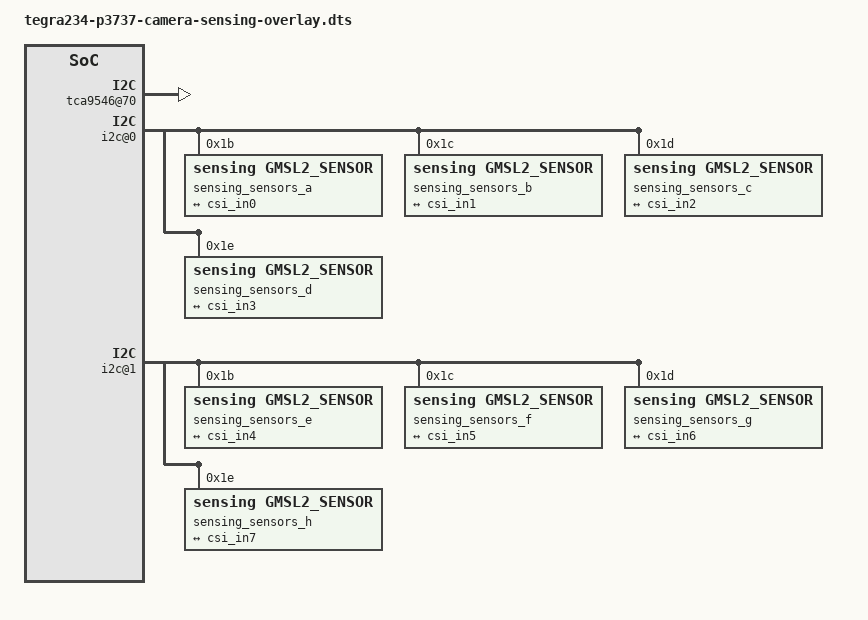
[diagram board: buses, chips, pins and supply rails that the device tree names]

/dts-v1/;
/plugin/;

/ {
	overlay-name = "Sensing Camera Module";
	jetson-header-name = "Jetson AGX CSI Connector";
	compatible = "nvidia,p3737-0000+p3701-0000", "nvidia,p3737-0000+p3701-0004", "nvidia,p3737-0000+p3701-0005";

	/* Enable VI ports */
	fragment@0 {
		target-path = "/tegra-capture-vi";
		__overlay__ {
			num-channels = <8>;
		};
	};
	fragment@1 {
		target-path = "/tegra-capture-vi/ports/port@0";
		__overlay__ {
			status = "okay";
		};
	};
	fragment@2 {
		target-path = "/tegra-capture-vi/ports/port@0/endpoint";
		__overlay__ {
			status = "okay";
			vc-id = <0>;
			port-index = <0>;
			bus-width = <4>;
		};
	};
	fragment@3 {
		target-path = "/tegra-capture-vi/ports/port@1";
		__overlay__ {
			status = "okay";
		};
	};
	fragment@4 {
		target-path = "/tegra-capture-vi/ports/port@1/endpoint";
		__overlay__ {
			status = "okay";
			vc-id = <1>;
			port-index = <0>;
			bus-width = <4>;
		};
	};
	fragment@5 {
		target-path = "/tegra-capture-vi/ports/port@2";
		__overlay__ {
			status = "okay";
		};
	};
	fragment@6 {
		target-path = "/tegra-capture-vi/ports/port@2/endpoint";
		__overlay__ {
			status = "okay";
			vc-id = <2>;
			port-index = <0>;
			bus-width = <4>;
		};
	};
	fragment@7 {
		target-path = "/tegra-capture-vi/ports/port@3";
		__overlay__ {
			status = "okay";
		};
	};
	fragment@8 {
		target-path = "/tegra-capture-vi/ports/port@3/endpoint";
		__overlay__ {
			status = "okay";
			vc-id = <3>;
			port-index = <0>;
			bus-width = <4>;
		};
	};
	fragment@9 {
		target-path = "/tegra-capture-vi/ports/port@4";
		__overlay__ {
			status = "okay";
		};
	};
	fragment@10 {
		target-path = "/tegra-capture-vi/ports/port@4/endpoint";
		__overlay__ {
			status = "okay";
			vc-id = <0>;
			port-index = <2>;
			bus-width = <4>;
		};
	};
	fragment@11 {
		target-path = "/tegra-capture-vi/ports/port@5";
		__overlay__ {
			status = "okay";
		};
	};
	fragment@12 {
		target-path = "/tegra-capture-vi/ports/port@5/endpoint";
		__overlay__ {
			status = "okay";
			vc-id = <1>;
			port-index = <2>;
			bus-width = <4>;
		};
	};
	fragment@13 {
		target-path = "/tegra-capture-vi/ports/port@6";
		__overlay__ {
			status = "okay";
		};
	};
	fragment@14 {
		target-path = "/tegra-capture-vi/ports/port@6/endpoint";
		__overlay__ {
			status = "okay";
			vc-id = <2>;
			port-index = <2>;
			bus-width = <4>;
		};
	};
	fragment@15 {
		target-path = "/tegra-capture-vi/ports/port@7";
		__overlay__ {
			status = "okay";
		};
	};
	fragment@16 {
		target-path = "/tegra-capture-vi/ports/port@7/endpoint";
		__overlay__ {
			status = "okay";
			vc-id = <3>;
			port-index = <2>;
			bus-width = <4>;
		};
	};

	/* Enable CSI ports */
	fragment@17 {
		target-path = "/host1x@13e00000/nvcsi@15a00000";
		__overlay__ {
			num-channels = <8>;
		};
	};
	fragment@18 {
		target-path = "/host1x@13e00000/nvcsi@15a00000/channel@0";
		__overlay__ {
			status = "okay";
		};
	};
	fragment@19 {
		target-path = "/host1x@13e00000/nvcsi@15a00000/channel@0/ports/port@0";
		__overlay__ {
			status = "okay";
		};
	};
	fragment@20 {
		target-path = "/host1x@13e00000/nvcsi@15a00000/channel@0/ports/port@0/endpoint@0";
		__overlay__ {
			status = "okay";
			port-index = <0>;
			bus-width = <4>;
			remote-endpoint = <&sensing_sensors_out0>;
		};
	};
	fragment@21 {
		target-path = "/host1x@13e00000/nvcsi@15a00000/channel@0/ports/port@1";
		__overlay__ {
			status = "okay";
		};
	};
	fragment@22 {
		target-path = "/host1x@13e00000/nvcsi@15a00000/channel@0/ports/port@1/endpoint@1";
		__overlay__ {
			status = "okay";
			remote-endpoint = <&vi_in0>;
		};
	};
	fragment@23 {
		target-path = "/host1x@13e00000/nvcsi@15a00000/channel@1";
		__overlay__ {
			status = "okay";
		};
	};
	fragment@24 {
		target-path = "/host1x@13e00000/nvcsi@15a00000/channel@1/ports/port@0";
		__overlay__ {
			status = "okay";
		};
	};
	fragment@25 {
		target-path = "/host1x@13e00000/nvcsi@15a00000/channel@1/ports/port@0/endpoint@2";
		__overlay__ {
			status = "okay";
			port-index = <0>;
			bus-width = <4>;
			remote-endpoint = <&sensing_sensors_out1>;
		};
	};
	fragment@26 {
		target-path = "/host1x@13e00000/nvcsi@15a00000/channel@1/ports/port@1";
		__overlay__ {
			status = "okay";
		};
	};
	fragment@27 {
		target-path = "/host1x@13e00000/nvcsi@15a00000/channel@1/ports/port@1/endpoint@3";
		__overlay__ {
			status = "okay";
			remote-endpoint = <&vi_in1>;
		};
	};
	fragment@28 {
		target-path = "/host1x@13e00000/nvcsi@15a00000/channel@2";
		__overlay__ {
			status = "okay";
		};
	};
	fragment@29 {
		target-path = "/host1x@13e00000/nvcsi@15a00000/channel@2/ports/port@0";
		__overlay__ {
			status = "okay";
		};
	};
	fragment@30 {
		target-path = "/host1x@13e00000/nvcsi@15a00000/channel@2/ports/port@0/endpoint@4";
		__overlay__ {
			status = "okay";
			port-index = <0>;
			bus-width = <4>;
			remote-endpoint = <&sensing_sensors_out2>;
		};
	};
	fragment@31 {
		target-path = "/host1x@13e00000/nvcsi@15a00000/channel@2/ports/port@1";
		__overlay__ {
			status = "okay";
		};
	};
	fragment@32 {
		target-path = "/host1x@13e00000/nvcsi@15a00000/channel@2/ports/port@1/endpoint@5";
		__overlay__ {
			status = "okay";
			remote-endpoint = <&vi_in2>;
		};
	};
	fragment@33 {
		target-path = "/host1x@13e00000/nvcsi@15a00000/channel@3";
		__overlay__ {
			status = "okay";
		};
	};
	fragment@34 {
		target-path = "/host1x@13e00000/nvcsi@15a00000/channel@3/ports/port@0";
		__overlay__ {
			status = "okay";
		};
	};
	fragment@35 {
		target-path = "/host1x@13e00000/nvcsi@15a00000/channel@3/ports/port@0/endpoint@6";
		__overlay__ {
			status = "okay";
			port-index = <0>;
			bus-width = <4>;
			remote-endpoint = <&sensing_sensors_out3>;
		};
	};
	fragment@36 {
		target-path = "/host1x@13e00000/nvcsi@15a00000/channel@3/ports/port@1";
		__overlay__ {
			status = "okay";
		};
	};
	fragment@37 {
		target-path = "/host1x@13e00000/nvcsi@15a00000/channel@3/ports/port@1/endpoint@7";
		__overlay__ {
			status = "okay";
			remote-endpoint = <&vi_in3>;
		};
	};
	fragment@38 {
		target-path = "/host1x@13e00000/nvcsi@15a00000/channel@4";
		__overlay__ {
			status = "okay";
		};
	};
	fragment@39 {
		target-path = "/host1x@13e00000/nvcsi@15a00000/channel@4/ports/port@0";
		__overlay__ {
			status = "okay";
		};
	};
	fragment@40 {
		target-path = "/host1x@13e00000/nvcsi@15a00000/channel@4/ports/port@0/endpoint@8";
		__overlay__ {
			status = "okay";
			port-index = <2>;
			bus-width = <4>;
			remote-endpoint = <&sensing_sensors_out4>;
		};
	};
	fragment@41 {
		target-path = "/host1x@13e00000/nvcsi@15a00000/channel@4/ports/port@1";
		__overlay__ {
			status = "okay";
		};
	};
	fragment@42 {
		target-path = "/host1x@13e00000/nvcsi@15a00000/channel@4/ports/port@1/endpoint@9";
		__overlay__ {
			status = "okay";
			remote-endpoint = <&vi_in4>;
		};
	};
	fragment@43 {
		target-path = "/host1x@13e00000/nvcsi@15a00000/channel@5";
		__overlay__ {
			status = "okay";
		};
	};
	fragment@44 {
		target-path = "/host1x@13e00000/nvcsi@15a00000/channel@5/ports/port@0";
		__overlay__ {
			status = "okay";
		};
	};
	fragment@45 {
		target-path = "/host1x@13e00000/nvcsi@15a00000/channel@5/ports/port@0/endpoint@10";
		__overlay__ {
			status = "okay";
			port-index = <2>;
			bus-width = <4>;
			remote-endpoint = <&sensing_sensors_out5>;
		};
	};
	fragment@46 {
		target-path = "/host1x@13e00000/nvcsi@15a00000/channel@5/ports/port@1";
		__overlay__ {
			status = "okay";
		};
	};
	fragment@47 {
		target-path = "/host1x@13e00000/nvcsi@15a00000/channel@5/ports/port@1/endpoint@11";
		__overlay__ {
			status = "okay";
			remote-endpoint = <&vi_in5>;
		};
	};
	fragment@48 {
		target-path = "/host1x@13e00000/nvcsi@15a00000/channel@6";
		__overlay__ {
			status = "okay";
		};
	};
	fragment@49 {
		target-path = "/host1x@13e00000/nvcsi@15a00000/channel@6/ports/port@0";
		__overlay__ {
			status = "okay";
		};
	};
	fragment@50 {
		target-path = "/host1x@13e00000/nvcsi@15a00000/channel@6/ports/port@0/endpoint@12";
		__overlay__ {
			status = "okay";
			port-index = <2>;
			bus-width = <4>;
			remote-endpoint = <&sensing_sensors_out6>;
		};
	};
	fragment@51 {
		target-path = "/host1x@13e00000/nvcsi@15a00000/channel@6/ports/port@1";
		__overlay__ {
			status = "okay";
		};
	};
	fragment@52 {
		target-path = "/host1x@13e00000/nvcsi@15a00000/channel@6/ports/port@1/endpoint@13";
		__overlay__ {
			status = "okay";
			remote-endpoint = <&vi_in6>;
		};
	};
	fragment@53 {
		target-path = "/host1x@13e00000/nvcsi@15a00000/channel@7";
		__overlay__ {
			status = "okay";
		};
	};
	fragment@54 {
		target-path = "/host1x@13e00000/nvcsi@15a00000/channel@7/ports/port@0";
		__overlay__ {
			status = "okay";
		};
	};
	fragment@55 {
		target-path = "/host1x@13e00000/nvcsi@15a00000/channel@7/ports/port@0/endpoint@14";
		__overlay__ {
			status = "okay";
			port-index = <2>;
			bus-width = <4>;
			remote-endpoint = <&sensing_sensors_out7>;
		};
	};
	fragment@56 {
		target-path = "/host1x@13e00000/nvcsi@15a00000/channel@7/ports/port@1";
		__overlay__ {
			status = "okay";
		};
	};
	fragment@57 {
		target-path = "/host1x@13e00000/nvcsi@15a00000/channel@7/ports/port@1/endpoint@15";
		__overlay__ {
			status = "okay";
			remote-endpoint = <&vi_in7>;
		};
	};

	/* tegra-camera-platform settings */
	fragment@58 {
		target-path = "/tegra-camera-platform";
		__overlay__ {
			num_csi_lanes = <4>;
			max_lane_speed = <4000000>;
		};
	};
	fragment@59 {
		target-path = "/tegra-camera-platform/modules/module0";
		__overlay__ {
			status = "okay";
			badge = "sensing_sensors_0";
			position = "a";
			orientation = "1";
		};
	};
	fragment@60 {
		target-path = "/tegra-camera-platform/modules/module0/drivernode0";
		__overlay__ {
			status = "okay";
			pcl_id = "v4l2_sensor";
			devname = "sensing_sensors 30-001b";
			proc-device-tree = "/proc/device-tree/i2c@3180000/tca9546@70/i2c@0/sensing_sensors_a@1b";
		};
	};
	fragment@61 {
		target-path = "/tegra-camera-platform/modules/module1";
		__overlay__ {
			status = "okay";
			badge = "sensing_sensors_1";
			position = "b";
			orientation = "1";
		};
	};
	fragment@62 {
		target-path = "/tegra-camera-platform/modules/module1/drivernode0";
		__overlay__ {
			status = "okay";
			pcl_id = "v4l2_sensor";
			devname = "sensing_sensors 30-001c";
			proc-device-tree = "/proc/device-tree/i2c@3180000/tca9546@70/i2c@0/sensing_sensors_b@1c";
		};
	};
	fragment@63 {
		target-path = "/tegra-camera-platform/modules/module2";
		__overlay__ {
			status = "okay";
			badge = "sensing_sensors_2";
			position = "c";
			orientation = "1";
		};
	};
	fragment@64 {
		target-path = "/tegra-camera-platform/modules/module2/drivernode0";
		__overlay__ {
			status = "okay";
			pcl_id = "v4l2_sensor";
			devname = "sensing_sensors 30-001d";
			proc-device-tree = "/proc/device-tree/i2c@3180000/tca9546@70/i2c@0/sensing_sensors_c@1d";
		};
	};
	fragment@65 {
		target-path = "/tegra-camera-platform/modules/module3";
		__overlay__ {
			status = "okay";
			badge = "sensing_sensors_3";
			position = "d";
			orientation = "1";
		};
	};
	fragment@66 {
		target-path = "/tegra-camera-platform/modules/module3/drivernode0";
		__overlay__ {
			status = "okay";
			pcl_id = "v4l2_sensor";
			devname = "sensing_sensors 30-001e";
			proc-device-tree = "/proc/device-tree/i2c@3180000/tca9546@70/i2c@0/sensing_sensors_d@1e";
		};
	};
	fragment@67 {
		target-path = "/tegra-camera-platform/modules/module4";
		__overlay__ {
			status = "okay";
			badge = "sensing_sensors_4";
			position = "e";
			orientation = "1";
		};
	};
	fragment@68 {
		target-path = "/tegra-camera-platform/modules/module4/drivernode0";
		__overlay__ {
			status = "okay";
			pcl_id = "v4l2_sensor";
			devname = "sensing_sensors 31-001b";
			proc-device-tree = "/proc/device-tree/i2c@3180000/tca9546@70/i2c@1/sensing_sensors_e@1b";
		};
	};
	fragment@69 {
		target-path = "/tegra-camera-platform/modules/module5";
		__overlay__ {
			status = "okay";
			badge = "sensing_sensors_5";
			position = "f";
			orientation = "1";
		};
	};
	fragment@70 {
		target-path = "/tegra-camera-platform/modules/module5/drivernode0";
		__overlay__ {
			status = "okay";
			pcl_id = "v4l2_sensor";
			devname = "sensing_sensors 31-001c";
			proc-device-tree = "/proc/device-tree/i2c@3180000/tca9546@70/i2c@1/sensing_sensors_f@1c";
		};
	};
	fragment@71 {
		target-path = "/tegra-camera-platform/modules/module6";
		__overlay__ {
			status = "okay";
			badge = "sensing_sensors_6";
			position = "g";
			orientation = "1";
		};
	};
	fragment@72 {
		target-path = "/tegra-camera-platform/modules/module6/drivernode0";
		__overlay__ {
			status = "okay";
			pcl_id = "v4l2_sensor";
			devname = "sensing_sensors 31-001d";
			proc-device-tree = "/proc/device-tree/i2c@3180000/tca9546@70/i2c@1/sensing_sensors_g@1d";
		};
	};
	fragment@73 {
		target-path = "/tegra-camera-platform/modules/module7";
		__overlay__ {
			status = "okay";
			badge = "sensing_sensors_7";
			position = "h";
			orientation = "1";
		};
	};
	fragment@74 {
		target-path = "/tegra-camera-platform/modules/module7/drivernode0";
		__overlay__ {
			status = "okay";
			pcl_id = "v4l2_sensor";
			devname = "sensing_sensors 31-001e";
			proc-device-tree = "/proc/device-tree/i2c@3180000/tca9546@70/i2c@1/sensing_sensors_h@1e";
		};
	};

	/* pca9546 i2c mux */
	fragment@75 {
		target-path = "/i2c@3180000/tca9546@70";
		__overlay__ {
			status = "okay";
		};
	};

	fragment@76 {
		target-path = "/i2c@3180000/tca9546@70/i2c@0";
		__overlay__ {
			reg = <0>;
			i2c-mux,deselect-on-exit;
			#address-cells = <1>;
			#size-cells = <0>;

			sensing_sensors_a@1b {
				compatible = "sensing,gmsl2_sensor";
				status = "okay";
				reg = <0x1b>;
				devnode = "video0";
				clocks = <&bpmp 36U>, <&bpmp 36U>;
				clock-names = "extperiph1", "pllp_grtba";
				mclk = "extperiph1";

				/* Physical dimensions of sensor */
				physical_w = "15.0";
				physical_h = "12.5";
				sensor_model = "gmsl2_sensor";

				/* Defines number of frames to be dropped by driver internally after applying */
				/* sensor crop settings. Some sensors send corrupt frames after applying */
				/* crop co-ordinates */
				post_crop_frame_drop = "0";

				/* Convert Gain to unit of dB (decibel) befor passing to kernel driver */
				use_decibel_gain = "true";

				/* enable CID_SENSOR_MODE_ID for sensor modes selection */
				use_sensor_mode_id = "false";

				mode0 {
					mclk_khz = "24000";
					num_lanes = "4";
					tegra_sinterface = "serial_a";
					vc_id = "0";
					discontinuous_clk = "no";
					dpcm_enable = "false";
					cil_settletime = "0";
					dynamic_pixel_bit_depth = "16";
					csi_pixel_bit_depth = "16";
					mode_type = "yuv";
					pixel_phase = "uyvy";

					active_w = "2880";
					active_h = "1860";
					readout_orientation = "0";
					line_length = "2880";
					inherent_gain = "1";
					mclk_multiplier = "6.696";
					pix_clk_hz = "160704000";
					serdes_pix_clk_hz = "375000000";

					gain_factor = "10";
					min_gain_val = "0"; /* dB */
					max_gain_val = "300"; /* dB */
					step_gain_val = "3"; /* 0.3 */
					default_gain = "0";
					min_hdr_ratio = "1";
					max_hdr_ratio = "1";
					framerate_factor = "1000000";
					min_framerate = "30000000";
					max_framerate = "30000000";
					step_framerate = "1";
					default_framerate = "30000000";
					exposure_factor = "1000000";
					min_exp_time = "59"; /*us, 2 lines*/
					max_exp_time = "33333";
					step_exp_time = "1";
					default_exp_time = "33333";/* us */
					embedded_metadata_height = "0";
				};

				mode1 {
					mclk_khz = "24000";
					num_lanes = "4";
					tegra_sinterface = "serial_a";
					vc_id = "0";
					discontinuous_clk = "yes";
					dpcm_enable = "false";
					cil_settletime = "0";
					dynamic_pixel_bit_depth = "16";
					csi_pixel_bit_depth = "16";
					mode_type = "yuv";
					pixel_phase = "uyvy";

					active_w = "3840";
					active_h = "2160";
					readout_orientation = "0";
					line_length = "3840";
					inherent_gain = "1";
					mclk_multiplier = "10.368";
					pix_clk_hz = "248832000";
					serdes_pix_clk_hz = "600000000";

					gain_factor = "10";
					min_gain_val = "0"; /* dB */
					max_gain_val = "300"; /* dB */
					step_gain_val = "3"; /* 0.3 */
					default_gain = "0";
					min_hdr_ratio = "1";
					max_hdr_ratio = "1";
					framerate_factor = "1000000";
					min_framerate = "30000000";
					max_framerate = "30000000";
					step_framerate = "1";
					default_framerate = "30000000";
					exposure_factor = "1000000";
					min_exp_time = "59"; /*us, 2 lines*/
					max_exp_time = "33333";
					step_exp_time = "1";
					default_exp_time = "33333";/* us */
					embedded_metadata_height = "0";
				};

				mode2 {
					mclk_khz = "24000";
					num_lanes = "4";
					tegra_sinterface = "serial_a";
					vc_id = "0";
					discontinuous_clk = "no";
					dpcm_enable = "false";
					cil_settletime = "0";
					dynamic_pixel_bit_depth = "16";
					csi_pixel_bit_depth = "16";
					mode_type = "yuv";
					pixel_phase = "uyvy";

					active_w = "1920";
					active_h = "1536";
					readout_orientation = "0";
					line_length = "1920";
					inherent_gain = "1";
					mclk_multiplier = "3.6864";
					pix_clk_hz = "88473600";
					serdes_pix_clk_hz = "375000000";

					gain_factor = "10";
					min_gain_val = "0"; /* dB */
					max_gain_val = "300"; /* dB */
					step_gain_val = "3"; /* 0.3 */
					default_gain = "0";
					min_hdr_ratio = "1";
					max_hdr_ratio = "1";
					framerate_factor = "1000000";
					min_framerate = "30000000";
					max_framerate = "30000000";
					step_framerate = "1";
					default_framerate = "30000000";
					exposure_factor = "1000000";
					min_exp_time = "59"; /*us, 2 lines*/
					max_exp_time = "33333";
					step_exp_time = "1";
					default_exp_time = "33333";/* us */
					embedded_metadata_height = "0";
				};

				ports {
					#address-cells = <1>;
					#size-cells = <0>;
					port@0 {
						reg = <0>;
						sensing_sensors_out0: endpoint {
							vc-id = <0>;
							port-index = <0>;
							bus-width = <4>;
							remote-endpoint = <&csi_in0>;
						};
					};
				};
			};

			sensing_sensors_b@1c {
				compatible = "sensing,gmsl2_sensor";
				status = "okay";
				reg = <0x1c>;
				devnode = "video1";
				clocks = <&bpmp 36U>, <&bpmp 36U>;
				clock-names = "extperiph1", "pllp_grtba";
				mclk = "extperiph1";

				/* Physical dimensions of sensor */
				physical_w = "15.0";
				physical_h = "12.5";
				sensor_model = "gmsl2_sensor";

				/* Defines number of frames to be dropped by driver internally after applying */
				/* sensor crop settings. Some sensors send corrupt frames after applying */
				/* crop co-ordinates */
				post_crop_frame_drop = "0";

				/* Convert Gain to unit of dB (decibel) befor passing to kernel driver */
				use_decibel_gain = "true";

				/* enable CID_SENSOR_MODE_ID for sensor modes selection */
				use_sensor_mode_id = "false";

				mode0 {
					mclk_khz = "24000";
					num_lanes = "4";
					tegra_sinterface = "serial_a";
					vc_id = "1";
					discontinuous_clk = "no";
					dpcm_enable = "false";
					cil_settletime = "0";
					dynamic_pixel_bit_depth = "16";
					csi_pixel_bit_depth = "16";
					mode_type = "yuv";
					pixel_phase = "uyvy";

					active_w = "2880";
					active_h = "1860";
					readout_orientation = "0";
					line_length = "2880";
					inherent_gain = "1";
					mclk_multiplier = "6.696";
					pix_clk_hz = "160704000";
					serdes_pix_clk_hz = "375000000";

					gain_factor = "10";
					min_gain_val = "0"; /* dB */
					max_gain_val = "300"; /* dB */
					step_gain_val = "3"; /* 0.3 */
					default_gain = "0";
					min_hdr_ratio = "1";
					max_hdr_ratio = "1";
					framerate_factor = "1000000";
					min_framerate = "30000000";
					max_framerate = "30000000";
					step_framerate = "1";
					default_framerate = "30000000";
					exposure_factor = "1000000";
					min_exp_time = "59"; /*us, 2 lines*/
					max_exp_time = "33333";
					step_exp_time = "1";
					default_exp_time = "33333";/* us */
					embedded_metadata_height = "0";
				};

				mode1 {
					mclk_khz = "24000";
					num_lanes = "4";
					tegra_sinterface = "serial_a";
					vc_id = "1";
					discontinuous_clk = "yes";
					dpcm_enable = "false";
					cil_settletime = "0";
					dynamic_pixel_bit_depth = "16";
					csi_pixel_bit_depth = "16";
					mode_type = "yuv";
					pixel_phase = "uyvy";

					active_w = "3840";
					active_h = "2160";
					readout_orientation = "0";
					line_length = "3840";
					inherent_gain = "1";
					mclk_multiplier = "10.368";
					pix_clk_hz = "248832000";
					serdes_pix_clk_hz = "600000000";

					gain_factor = "10";
					min_gain_val = "0"; /* dB */
					max_gain_val = "300"; /* dB */
					step_gain_val = "3"; /* 0.3 */
					default_gain = "0";
					min_hdr_ratio = "1";
					max_hdr_ratio = "1";
					framerate_factor = "1000000";
					min_framerate = "30000000";
					max_framerate = "30000000";
					step_framerate = "1";
					default_framerate = "30000000";
					exposure_factor = "1000000";
					min_exp_time = "59"; /*us, 2 lines*/
					max_exp_time = "33333";
					step_exp_time = "1";
					default_exp_time = "33333";/* us */
					embedded_metadata_height = "0";
				};

				mode2 {
					mclk_khz = "24000";
					num_lanes = "4";
					tegra_sinterface = "serial_a";
					vc_id = "1";
					discontinuous_clk = "no";
					dpcm_enable = "false";
					cil_settletime = "0";
					dynamic_pixel_bit_depth = "16";
					csi_pixel_bit_depth = "16";
					mode_type = "yuv";
					pixel_phase = "uyvy";

					active_w = "1920";
					active_h = "1536";
					readout_orientation = "0";
					line_length = "1920";
					inherent_gain = "1";
					mclk_multiplier = "3.6864";
					pix_clk_hz = "88473600";
					serdes_pix_clk_hz = "375000000";

					gain_factor = "10";
					min_gain_val = "0"; /* dB */
					max_gain_val = "300"; /* dB */
					step_gain_val = "3"; /* 0.3 */
					default_gain = "0";
					min_hdr_ratio = "1";
					max_hdr_ratio = "1";
					framerate_factor = "1000000";
					min_framerate = "30000000";
					max_framerate = "30000000";
					step_framerate = "1";
					default_framerate = "30000000";
					exposure_factor = "1000000";
					min_exp_time = "59"; /*us, 2 lines*/
					max_exp_time = "33333";
					step_exp_time = "1";
					default_exp_time = "33333";/* us */
					embedded_metadata_height = "0";
				};

				ports {
					#address-cells = <1>;
					#size-cells = <0>;
					port@0 {
						reg = <0>;
						sensing_sensors_out1: endpoint {
							vc-id = <1>;
							port-index = <0>;
							bus-width = <4>;
							remote-endpoint = <&csi_in1>;
						};
					};
				};
			};

			sensing_sensors_c@1d {
				compatible = "sensing,gmsl2_sensor";
				status = "okay";
				reg = <0x1d>;
				devnode = "video2";
				clocks = <&bpmp 36U>, <&bpmp 36U>;
				clock-names = "extperiph1", "pllp_grtba";
				mclk = "extperiph1";

				/* Physical dimensions of sensor */
				physical_w = "15.0";
				physical_h = "12.5";
				sensor_model = "gmsl2_sensor";

				/* Defines number of frames to be dropped by driver internally after applying */
				/* sensor crop settings. Some sensors send corrupt frames after applying */
				/* crop co-ordinates */
				post_crop_frame_drop = "0";

				/* Convert Gain to unit of dB (decibel) befor passing to kernel driver */
				use_decibel_gain = "true";

				/* enable CID_SENSOR_MODE_ID for sensor modes selection */
				use_sensor_mode_id = "false";

				mode0 {
					mclk_khz = "24000";
					num_lanes = "4";
					tegra_sinterface = "serial_a";
					vc_id = "2";
					discontinuous_clk = "no";
					dpcm_enable = "false";
					cil_settletime = "0";
					dynamic_pixel_bit_depth = "16";
					csi_pixel_bit_depth = "16";
					mode_type = "yuv";
					pixel_phase = "uyvy";

					active_w = "2880";
					active_h = "1860";
					readout_orientation = "0";
					line_length = "2880";
					inherent_gain = "1";
					mclk_multiplier = "6.696";
					pix_clk_hz = "160704000";
					serdes_pix_clk_hz = "375000000";

					gain_factor = "10";
					min_gain_val = "0"; /* dB */
					max_gain_val = "300"; /* dB */
					step_gain_val = "3"; /* 0.3 */
					default_gain = "0";
					min_hdr_ratio = "1";
					max_hdr_ratio = "1";
					framerate_factor = "1000000";
					min_framerate = "30000000";
					max_framerate = "30000000";
					step_framerate = "1";
					default_framerate = "30000000";
					exposure_factor = "1000000";
					min_exp_time = "59"; /*us, 2 lines*/
					max_exp_time = "33333";
					step_exp_time = "1";
					default_exp_time = "33333";/* us */
					embedded_metadata_height = "0";
				};

				mode1 {
					mclk_khz = "24000";
					num_lanes = "4";
					tegra_sinterface = "serial_a";
					vc_id = "2";
					discontinuous_clk = "yes";
					dpcm_enable = "false";
					cil_settletime = "0";
					dynamic_pixel_bit_depth = "16";
					csi_pixel_bit_depth = "16";
					mode_type = "yuv";
					pixel_phase = "uyvy";

					active_w = "3840";
					active_h = "2160";
					readout_orientation = "0";
					line_length = "3840";
					inherent_gain = "1";
					mclk_multiplier = "10.368";
					pix_clk_hz = "248832000";
					serdes_pix_clk_hz = "600000000";

					gain_factor = "10";
					min_gain_val = "0"; /* dB */
					max_gain_val = "300"; /* dB */
					step_gain_val = "3"; /* 0.3 */
					default_gain = "0";
					min_hdr_ratio = "1";
					max_hdr_ratio = "1";
					framerate_factor = "1000000";
					min_framerate = "30000000";
					max_framerate = "30000000";
					step_framerate = "1";
					default_framerate = "30000000";
					exposure_factor = "1000000";
					min_exp_time = "59"; /*us, 2 lines*/
					max_exp_time = "33333";
					step_exp_time = "1";
					default_exp_time = "33333";/* us */
					embedded_metadata_height = "0";
				};

				mode2 {
					mclk_khz = "24000";
					num_lanes = "4";
					tegra_sinterface = "serial_a";
					vc_id = "2";
					discontinuous_clk = "no";
					dpcm_enable = "false";
					cil_settletime = "0";
					dynamic_pixel_bit_depth = "16";
					csi_pixel_bit_depth = "16";
					mode_type = "yuv";
					pixel_phase = "uyvy";

					active_w = "1920";
					active_h = "1536";
					readout_orientation = "0";
					line_length = "1920";
					inherent_gain = "1";
					mclk_multiplier = "3.6864";
					pix_clk_hz = "88473600";
					serdes_pix_clk_hz = "375000000";

					gain_factor = "10";
					min_gain_val = "0"; /* dB */
					max_gain_val = "300"; /* dB */
					step_gain_val = "3"; /* 0.3 */
					default_gain = "0";
					min_hdr_ratio = "1";
					max_hdr_ratio = "1";
					framerate_factor = "1000000";
					min_framerate = "30000000";
					max_framerate = "30000000";
					step_framerate = "1";
					default_framerate = "30000000";
					exposure_factor = "1000000";
					min_exp_time = "59"; /*us, 2 lines*/
					max_exp_time = "33333";
					step_exp_time = "1";
					default_exp_time = "33333";/* us */
					embedded_metadata_height = "0";
				};

				ports {
					#address-cells = <1>;
					#size-cells = <0>;
					port@0 {
						reg = <0>;
						sensing_sensors_out2: endpoint {
							vc-id = <2>;
							port-index = <0>;
							bus-width = <4>;
							remote-endpoint = <&csi_in2>;
						};
					};
				};
			};

			sensing_sensors_d@1e {
				compatible = "sensing,gmsl2_sensor";
				status = "okay";
				reg = <0x1e>;
				devnode = "video3";
				clocks = <&bpmp 36U>, <&bpmp 36U>;
				clock-names = "extperiph1", "pllp_grtba";
				mclk = "extperiph1";

				/* Physical dimensions of sensor */
				physical_w = "15.0";
				physical_h = "12.5";
				sensor_model = "gmsl2_sensor";

				/* Defines number of frames to be dropped by driver internally after applying */
				/* sensor crop settings. Some sensors send corrupt frames after applying */
				/* crop co-ordinates */
				post_crop_frame_drop = "0";

				/* Convert Gain to unit of dB (decibel) befor passing to kernel driver */
				use_decibel_gain = "true";

				/* enable CID_SENSOR_MODE_ID for sensor modes selection */
				use_sensor_mode_id = "false";

				mode0 {
					mclk_khz = "24000";
					num_lanes = "4";
					tegra_sinterface = "serial_a";
					vc_id = "3";
					discontinuous_clk = "no";
					dpcm_enable = "false";
					cil_settletime = "0";
					dynamic_pixel_bit_depth = "16";
					csi_pixel_bit_depth = "16";
					mode_type = "yuv";
					pixel_phase = "uyvy";

					active_w = "2880";
					active_h = "1860";
					readout_orientation = "0";
					line_length = "2880";
					inherent_gain = "1";
					mclk_multiplier = "6.696";
					pix_clk_hz = "160704000";
					serdes_pix_clk_hz = "375000000";

					gain_factor = "10";
					min_gain_val = "0"; /* dB */
					max_gain_val = "300"; /* dB */
					step_gain_val = "3"; /* 0.3 */
					default_gain = "0";
					min_hdr_ratio = "1";
					max_hdr_ratio = "1";
					framerate_factor = "1000000";
					min_framerate = "30000000";
					max_framerate = "30000000";
					step_framerate = "1";
					default_framerate = "30000000";
					exposure_factor = "1000000";
					min_exp_time = "59"; /*us, 2 lines*/
					max_exp_time = "33333";
					step_exp_time = "1";
					default_exp_time = "33333";/* us */
					embedded_metadata_height = "0";
				};

				mode1 {
					mclk_khz = "24000";
					num_lanes = "4";
					tegra_sinterface = "serial_a";
					vc_id = "3";
					discontinuous_clk = "yes";
					dpcm_enable = "false";
					cil_settletime = "0";
					dynamic_pixel_bit_depth = "16";
					csi_pixel_bit_depth = "16";
					mode_type = "yuv";
					pixel_phase = "uyvy";

					active_w = "3840";
					active_h = "2160";
					readout_orientation = "0";
					line_length = "3840";
					inherent_gain = "1";
					mclk_multiplier = "10.368";
					pix_clk_hz = "248832000";
					serdes_pix_clk_hz = "600000000";

					gain_factor = "10";
					min_gain_val = "0"; /* dB */
					max_gain_val = "300"; /* dB */
					step_gain_val = "3"; /* 0.3 */
					default_gain = "0";
					min_hdr_ratio = "1";
					max_hdr_ratio = "1";
					framerate_factor = "1000000";
					min_framerate = "30000000";
					max_framerate = "30000000";
					step_framerate = "1";
					default_framerate = "30000000";
					exposure_factor = "1000000";
					min_exp_time = "59"; /*us, 2 lines*/
					max_exp_time = "33333";
					step_exp_time = "1";
					default_exp_time = "33333";/* us */
					embedded_metadata_height = "0";
				};

				mode2 {
					mclk_khz = "24000";
					num_lanes = "4";
					tegra_sinterface = "serial_a";
					vc_id = "3";
					discontinuous_clk = "no";
					dpcm_enable = "false";
					cil_settletime = "0";
					dynamic_pixel_bit_depth = "16";
					csi_pixel_bit_depth = "16";
					mode_type = "yuv";
					pixel_phase = "uyvy";

					active_w = "1920";
					active_h = "1536";
					readout_orientation = "0";
					line_length = "1920";
					inherent_gain = "1";
					mclk_multiplier = "3.6864";
					pix_clk_hz = "88473600";
					serdes_pix_clk_hz = "375000000";

					gain_factor = "10";
					min_gain_val = "0"; /* dB */
					max_gain_val = "300"; /* dB */
					step_gain_val = "3"; /* 0.3 */
					default_gain = "0";
					min_hdr_ratio = "1";
					max_hdr_ratio = "1";
					framerate_factor = "1000000";
					min_framerate = "30000000";
					max_framerate = "30000000";
					step_framerate = "1";
					default_framerate = "30000000";
					exposure_factor = "1000000";
					min_exp_time = "59"; /*us, 2 lines*/
					max_exp_time = "33333";
					step_exp_time = "1";
					default_exp_time = "33333";/* us */
					embedded_metadata_height = "0";
				};

				ports {
					#address-cells = <1>;
					#size-cells = <0>;
					port@0 {
						reg = <0>;
						sensing_sensors_out3: endpoint {
							vc-id = <3>;
							port-index = <0>;
							bus-width = <4>;
							remote-endpoint = <&csi_in3>;
						};
					};
				};
			};
		};
	};

	fragment@77 {
		target-path = "/i2c@3180000/tca9546@70/i2c@1";
		__overlay__ {
			reg = <1>;
			i2c-mux,deselect-on-exit;
			#address-cells = <1>;
			#size-cells = <0>;

			sensing_sensors_e@1b {
				compatible = "sensing,gmsl2_sensor";
				status = "okay";
				reg = <0x1b>;
				devnode = "video4";
				clocks = <&bpmp 36U>, <&bpmp 36U>;
				clock-names = "extperiph1", "pllp_grtba";
				mclk = "extperiph1";

				/* Physical dimensions of sensor */
				physical_w = "15.0";
				physical_h = "12.5";
				sensor_model = "gmsl2_sensor";

				/* Defines number of frames to be dropped by driver internally after applying */
				/* sensor crop settings. Some sensors send corrupt frames after applying */
				/* crop co-ordinates */
				post_crop_frame_drop = "0";

				/* Convert Gain to unit of dB (decibel) befor passing to kernel driver */
				use_decibel_gain = "true";

				/* enable CID_SENSOR_MODE_ID for sensor modes selection */
				use_sensor_mode_id = "false";

				mode0 {
					mclk_khz = "24000";
					num_lanes = "4";
					tegra_sinterface = "serial_c";
					vc_id = "0";
					discontinuous_clk = "no";
					dpcm_enable = "false";
					cil_settletime = "0";
					dynamic_pixel_bit_depth = "16";
					csi_pixel_bit_depth = "16";
					mode_type = "yuv";
					pixel_phase = "uyvy";

					active_w = "2880";
					active_h = "1860";
					readout_orientation = "0";
					line_length = "2880";
					inherent_gain = "1";
					mclk_multiplier = "6.696";
					pix_clk_hz = "160704000";
					serdes_pix_clk_hz = "375000000";

					gain_factor = "10";
					min_gain_val = "0"; /* dB */
					max_gain_val = "300"; /* dB */
					step_gain_val = "3"; /* 0.3 */
					default_gain = "0";
					min_hdr_ratio = "1";
					max_hdr_ratio = "1";
					framerate_factor = "1000000";
					min_framerate = "30000000";
					max_framerate = "30000000";
					step_framerate = "1";
					default_framerate = "30000000";
					exposure_factor = "1000000";
					min_exp_time = "59"; /*us, 2 lines*/
					max_exp_time = "33333";
					step_exp_time = "1";
					default_exp_time = "33333";/* us */
					embedded_metadata_height = "0";
				};

				mode1 {
					mclk_khz = "24000";
					num_lanes = "4";
					tegra_sinterface = "serial_c";
					vc_id = "0";
					discontinuous_clk = "yes";
					dpcm_enable = "false";
					cil_settletime = "0";
					dynamic_pixel_bit_depth = "16";
					csi_pixel_bit_depth = "16";
					mode_type = "yuv";
					pixel_phase = "uyvy";

					active_w = "3840";
					active_h = "2160";
					readout_orientation = "0";
					line_length = "3840";
					inherent_gain = "1";
					mclk_multiplier = "10.368";
					pix_clk_hz = "248832000";
					serdes_pix_clk_hz = "600000000";

					gain_factor = "10";
					min_gain_val = "0"; /* dB */
					max_gain_val = "300"; /* dB */
					step_gain_val = "3"; /* 0.3 */
					default_gain = "0";
					min_hdr_ratio = "1";
					max_hdr_ratio = "1";
					framerate_factor = "1000000";
					min_framerate = "30000000";
					max_framerate = "30000000";
					step_framerate = "1";
					default_framerate = "30000000";
					exposure_factor = "1000000";
					min_exp_time = "59"; /*us, 2 lines*/
					max_exp_time = "33333";
					step_exp_time = "1";
					default_exp_time = "33333";/* us */
					embedded_metadata_height = "0";
				};

				mode2 {
					mclk_khz = "24000";
					num_lanes = "4";
					tegra_sinterface = "serial_c";
					vc_id = "0";
					discontinuous_clk = "no";
					dpcm_enable = "false";
					cil_settletime = "0";
					dynamic_pixel_bit_depth = "16";
					csi_pixel_bit_depth = "16";
					mode_type = "yuv";
					pixel_phase = "uyvy";

					active_w = "1920";
					active_h = "1536";
					readout_orientation = "0";
					line_length = "1920";
					inherent_gain = "1";
					mclk_multiplier = "3.6864";
					pix_clk_hz = "88473600";
					serdes_pix_clk_hz = "375000000";

					gain_factor = "10";
					min_gain_val = "0"; /* dB */
					max_gain_val = "300"; /* dB */
					step_gain_val = "3"; /* 0.3 */
					default_gain = "0";
					min_hdr_ratio = "1";
					max_hdr_ratio = "1";
					framerate_factor = "1000000";
					min_framerate = "30000000";
					max_framerate = "30000000";
					step_framerate = "1";
					default_framerate = "30000000";
					exposure_factor = "1000000";
					min_exp_time = "59"; /*us, 2 lines*/
					max_exp_time = "33333";
					step_exp_time = "1";
					default_exp_time = "33333";/* us */
					embedded_metadata_height = "0";
				};

				ports {
					#address-cells = <1>;
					#size-cells = <0>;
					port@0 {
						reg = <0>;
						sensing_sensors_out4: endpoint {
							vc-id = <0>;
							port-index = <2>;
							bus-width = <4>;
							remote-endpoint = <&csi_in4>;
						};
					};
				};
			};

			sensing_sensors_f@1c {
				compatible = "sensing,gmsl2_sensor";
				status = "okay";
				reg = <0x1c>;
				devnode = "video5";
				clocks = <&bpmp 36U>, <&bpmp 36U>;
				clock-names = "extperiph1", "pllp_grtba";
				mclk = "extperiph1";

				/* Physical dimensions of sensor */
				physical_w = "15.0";
				physical_h = "12.5";
				sensor_model = "gmsl2_sensor";

				/* Defines number of frames to be dropped by driver internally after applying */
				/* sensor crop settings. Some sensors send corrupt frames after applying */
				/* crop co-ordinates */
				post_crop_frame_drop = "0";

				/* Convert Gain to unit of dB (decibel) befor passing to kernel driver */
				use_decibel_gain = "true";

				/* enable CID_SENSOR_MODE_ID for sensor modes selection */
				use_sensor_mode_id = "false";

				mode0 {
					mclk_khz = "24000";
					num_lanes = "4";
					tegra_sinterface = "serial_c";
					vc_id = "1";
					discontinuous_clk = "no";
					dpcm_enable = "false";
					cil_settletime = "0";
					dynamic_pixel_bit_depth = "16";
					csi_pixel_bit_depth = "16";
					mode_type = "yuv";
					pixel_phase = "uyvy";

					active_w = "2880";
					active_h = "1860";
					readout_orientation = "0";
					line_length = "2880";
					inherent_gain = "1";
					mclk_multiplier = "6.696";
					pix_clk_hz = "160704000";
					serdes_pix_clk_hz = "375000000";

					gain_factor = "10";
					min_gain_val = "0"; /* dB */
					max_gain_val = "300"; /* dB */
					step_gain_val = "3"; /* 0.3 */
					default_gain = "0";
					min_hdr_ratio = "1";
					max_hdr_ratio = "1";
					framerate_factor = "1000000";
					min_framerate = "30000000";
					max_framerate = "30000000";
					step_framerate = "1";
					default_framerate = "30000000";
					exposure_factor = "1000000";
					min_exp_time = "59"; /*us, 2 lines*/
					max_exp_time = "33333";
					step_exp_time = "1";
					default_exp_time = "33333";/* us */
					embedded_metadata_height = "0";
				};

				mode1 {
					mclk_khz = "24000";
					num_lanes = "4";
					tegra_sinterface = "serial_c";
					vc_id = "1";
					discontinuous_clk = "yes";
					dpcm_enable = "false";
					cil_settletime = "0";
					dynamic_pixel_bit_depth = "16";
					csi_pixel_bit_depth = "16";
					mode_type = "yuv";
					pixel_phase = "uyvy";

					active_w = "3840";
					active_h = "2160";
					readout_orientation = "0";
					line_length = "3840";
					inherent_gain = "1";
					mclk_multiplier = "10.368";
					pix_clk_hz = "248832000";
					serdes_pix_clk_hz = "600000000";

					gain_factor = "10";
					min_gain_val = "0"; /* dB */
					max_gain_val = "300"; /* dB */
					step_gain_val = "3"; /* 0.3 */
					default_gain = "0";
					min_hdr_ratio = "1";
					max_hdr_ratio = "1";
					framerate_factor = "1000000";
					min_framerate = "30000000";
					max_framerate = "30000000";
					step_framerate = "1";
					default_framerate = "30000000";
					exposure_factor = "1000000";
					min_exp_time = "59"; /*us, 2 lines*/
					max_exp_time = "33333";
					step_exp_time = "1";
					default_exp_time = "33333";/* us */
					embedded_metadata_height = "0";
				};

				mode2 {
					mclk_khz = "24000";
					num_lanes = "4";
					tegra_sinterface = "serial_c";
					vc_id = "1";
					discontinuous_clk = "no";
					dpcm_enable = "false";
					cil_settletime = "0";
					dynamic_pixel_bit_depth = "16";
					csi_pixel_bit_depth = "16";
					mode_type = "yuv";
					pixel_phase = "uyvy";

					active_w = "1920";
					active_h = "1536";
					readout_orientation = "0";
					line_length = "1920";
					inherent_gain = "1";
					mclk_multiplier = "3.6864";
					pix_clk_hz = "88473600";
					serdes_pix_clk_hz = "375000000";

					gain_factor = "10";
					min_gain_val = "0"; /* dB */
					max_gain_val = "300"; /* dB */
					step_gain_val = "3"; /* 0.3 */
					default_gain = "0";
					min_hdr_ratio = "1";
					max_hdr_ratio = "1";
					framerate_factor = "1000000";
					min_framerate = "30000000";
					max_framerate = "30000000";
					step_framerate = "1";
					default_framerate = "30000000";
					exposure_factor = "1000000";
					min_exp_time = "59"; /*us, 2 lines*/
					max_exp_time = "33333";
					step_exp_time = "1";
					default_exp_time = "33333";/* us */
					embedded_metadata_height = "0";
				};

				ports {
					#address-cells = <1>;
					#size-cells = <0>;
					port@0 {
						reg = <0>;
						sensing_sensors_out5: endpoint {
							vc-id = <1>;
							port-index = <2>;
							bus-width = <4>;
							remote-endpoint = <&csi_in5>;
						};
					};
				};
			};

			sensing_sensors_g@1d {
				compatible = "sensing,gmsl2_sensor";
				status = "okay";
				reg = <0x1d>;
				devnode = "video6";
				clocks = <&bpmp 36U>, <&bpmp 36U>;
				clock-names = "extperiph1", "pllp_grtba";
				mclk = "extperiph1";

				/* Physical dimensions of sensor */
				physical_w = "15.0";
				physical_h = "12.5";
				sensor_model = "gmsl2_sensor";

				/* Defines number of frames to be dropped by driver internally after applying */
				/* sensor crop settings. Some sensors send corrupt frames after applying */
				/* crop co-ordinates */
				post_crop_frame_drop = "0";

				/* Convert Gain to unit of dB (decibel) befor passing to kernel driver */
				use_decibel_gain = "true";

				/* enable CID_SENSOR_MODE_ID for sensor modes selection */
				use_sensor_mode_id = "false";

				mode0 {
					mclk_khz = "24000";
					num_lanes = "4";
					tegra_sinterface = "serial_c";
					vc_id = "2";
					discontinuous_clk = "no";
					dpcm_enable = "false";
					cil_settletime = "0";
					dynamic_pixel_bit_depth = "16";
					csi_pixel_bit_depth = "16";
					mode_type = "yuv";
					pixel_phase = "uyvy";

					active_w = "2880";
					active_h = "1860";
					readout_orientation = "0";
					line_length = "2880";
					inherent_gain = "1";
					mclk_multiplier = "6.696";
					pix_clk_hz = "160704000";
					serdes_pix_clk_hz = "375000000";

					gain_factor = "10";
					min_gain_val = "0"; /* dB */
					max_gain_val = "300"; /* dB */
					step_gain_val = "3"; /* 0.3 */
					default_gain = "0";
					min_hdr_ratio = "1";
					max_hdr_ratio = "1";
					framerate_factor = "1000000";
					min_framerate = "30000000";
					max_framerate = "30000000";
					step_framerate = "1";
					default_framerate = "30000000";
					exposure_factor = "1000000";
					min_exp_time = "59"; /*us, 2 lines*/
					max_exp_time = "33333";
					step_exp_time = "1";
					default_exp_time = "33333";/* us */
					embedded_metadata_height = "0";
				};

				mode1 {
					mclk_khz = "24000";
					num_lanes = "4";
					tegra_sinterface = "serial_c";
					vc_id = "2";
					discontinuous_clk = "yes";
					dpcm_enable = "false";
					cil_settletime = "0";
					dynamic_pixel_bit_depth = "16";
					csi_pixel_bit_depth = "16";
					mode_type = "yuv";
					pixel_phase = "uyvy";

					active_w = "3840";
					active_h = "2160";
					readout_orientation = "0";
					line_length = "3840";
					inherent_gain = "1";
					mclk_multiplier = "10.368";
					pix_clk_hz = "248832000";
					serdes_pix_clk_hz = "600000000";

					gain_factor = "10";
					min_gain_val = "0"; /* dB */
					max_gain_val = "300"; /* dB */
					step_gain_val = "3"; /* 0.3 */
					default_gain = "0";
					min_hdr_ratio = "1";
					max_hdr_ratio = "1";
					framerate_factor = "1000000";
					min_framerate = "30000000";
					max_framerate = "30000000";
					step_framerate = "1";
					default_framerate = "30000000";
					exposure_factor = "1000000";
					min_exp_time = "59"; /*us, 2 lines*/
					max_exp_time = "33333";
					step_exp_time = "1";
					default_exp_time = "33333";/* us */
					embedded_metadata_height = "0";
				};

				mode2 {
					mclk_khz = "24000";
					num_lanes = "4";
					tegra_sinterface = "serial_c";
					vc_id = "2";
					discontinuous_clk = "no";
					dpcm_enable = "false";
					cil_settletime = "0";
					dynamic_pixel_bit_depth = "16";
					csi_pixel_bit_depth = "16";
					mode_type = "yuv";
					pixel_phase = "uyvy";

					active_w = "1920";
					active_h = "1536";
					readout_orientation = "0";
					line_length = "1920";
					inherent_gain = "1";
					mclk_multiplier = "3.6864";
					pix_clk_hz = "88473600";
					serdes_pix_clk_hz = "375000000";

					gain_factor = "10";
					min_gain_val = "0"; /* dB */
					max_gain_val = "300"; /* dB */
					step_gain_val = "3"; /* 0.3 */
					default_gain = "0";
					min_hdr_ratio = "1";
					max_hdr_ratio = "1";
					framerate_factor = "1000000";
					min_framerate = "30000000";
					max_framerate = "30000000";
					step_framerate = "1";
					default_framerate = "30000000";
					exposure_factor = "1000000";
					min_exp_time = "59"; /*us, 2 lines*/
					max_exp_time = "33333";
					step_exp_time = "1";
					default_exp_time = "33333";/* us */
					embedded_metadata_height = "0";
				};

				ports {
					#address-cells = <1>;
					#size-cells = <0>;
					port@0 {
						reg = <0>;
						sensing_sensors_out6: endpoint {
							vc-id = <2>;
							port-index = <2>;
							bus-width = <4>;
							remote-endpoint = <&csi_in6>;
						};
					};
				};
			};

			sensing_sensors_h@1e {
				compatible = "sensing,gmsl2_sensor";
				status = "okay";
				reg = <0x1e>;
				devnode = "video7";
				clocks = <&bpmp 36U>, <&bpmp 36U>;
				clock-names = "extperiph1", "pllp_grtba";
				mclk = "extperiph1";

				/* Physical dimensions of sensor */
				physical_w = "15.0";
				physical_h = "12.5";
				sensor_model = "gmsl2_sensor";

				/* Defines number of frames to be dropped by driver internally after applying */
				/* sensor crop settings. Some sensors send corrupt frames after applying */
				/* crop co-ordinates */
				post_crop_frame_drop = "0";

				/* Convert Gain to unit of dB (decibel) befor passing to kernel driver */
				use_decibel_gain = "true";

				/* enable CID_SENSOR_MODE_ID for sensor modes selection */
				use_sensor_mode_id = "false";

				mode0 {
					mclk_khz = "24000";
					num_lanes = "4";
					tegra_sinterface = "serial_c";
					vc_id = "3";
					discontinuous_clk = "no";
					dpcm_enable = "false";
					cil_settletime = "0";
					dynamic_pixel_bit_depth = "16";
					csi_pixel_bit_depth = "16";
					mode_type = "yuv";
					pixel_phase = "uyvy";

					active_w = "2880";
					active_h = "1860";
					readout_orientation = "0";
					line_length = "2880";
					inherent_gain = "1";
					mclk_multiplier = "6.696";
					pix_clk_hz = "160704000";
					serdes_pix_clk_hz = "375000000";

					gain_factor = "10";
					min_gain_val = "0"; /* dB */
					max_gain_val = "300"; /* dB */
					step_gain_val = "3"; /* 0.3 */
					default_gain = "0";
					min_hdr_ratio = "1";
					max_hdr_ratio = "1";
					framerate_factor = "1000000";
					min_framerate = "30000000";
					max_framerate = "30000000";
					step_framerate = "1";
					default_framerate = "30000000";
					exposure_factor = "1000000";
					min_exp_time = "59"; /*us, 2 lines*/
					max_exp_time = "33333";
					step_exp_time = "1";
					default_exp_time = "33333";/* us */
					embedded_metadata_height = "0";
				};

				mode1 {
					mclk_khz = "24000";
					num_lanes = "4";
					tegra_sinterface = "serial_c";
					vc_id = "3";
					discontinuous_clk = "yes";
					dpcm_enable = "false";
					cil_settletime = "0";
					dynamic_pixel_bit_depth = "16";
					csi_pixel_bit_depth = "16";
					mode_type = "yuv";
					pixel_phase = "uyvy";

					active_w = "3840";
					active_h = "2160";
					readout_orientation = "0";
					line_length = "3840";
					inherent_gain = "1";
					mclk_multiplier = "10.368";
					pix_clk_hz = "248832000";
					serdes_pix_clk_hz = "600000000";

					gain_factor = "10";
					min_gain_val = "0"; /* dB */
					max_gain_val = "300"; /* dB */
					step_gain_val = "3"; /* 0.3 */
					default_gain = "0";
					min_hdr_ratio = "1";
					max_hdr_ratio = "1";
					framerate_factor = "1000000";
					min_framerate = "30000000";
					max_framerate = "30000000";
					step_framerate = "1";
					default_framerate = "30000000";
					exposure_factor = "1000000";
					min_exp_time = "59"; /*us, 2 lines*/
					max_exp_time = "33333";
					step_exp_time = "1";
					default_exp_time = "33333";/* us */
					embedded_metadata_height = "0";
				};

				mode2 {
					mclk_khz = "24000";
					num_lanes = "4";
					tegra_sinterface = "serial_c";
					vc_id = "3";
					discontinuous_clk = "no";
					dpcm_enable = "false";
					cil_settletime = "0";
					dynamic_pixel_bit_depth = "16";
					csi_pixel_bit_depth = "16";
					mode_type = "yuv";
					pixel_phase = "uyvy";

					active_w = "1920";
					active_h = "1536";
					readout_orientation = "0";
					line_length = "1920";
					inherent_gain = "1";
					mclk_multiplier = "3.6864";
					pix_clk_hz = "88473600";
					serdes_pix_clk_hz = "375000000";

					gain_factor = "10";
					min_gain_val = "0"; /* dB */
					max_gain_val = "300"; /* dB */
					step_gain_val = "3"; /* 0.3 */
					default_gain = "0";
					min_hdr_ratio = "1";
					max_hdr_ratio = "1";
					framerate_factor = "1000000";
					min_framerate = "30000000";
					max_framerate = "30000000";
					step_framerate = "1";
					default_framerate = "30000000";
					exposure_factor = "1000000";
					min_exp_time = "59"; /*us, 2 lines*/
					max_exp_time = "33333";
					step_exp_time = "1";
					default_exp_time = "33333";/* us */
					embedded_metadata_height = "0";
				};

				ports {
					#address-cells = <1>;
					#size-cells = <0>;
					port@0 {
						reg = <0>;
						sensing_sensors_out7: endpoint {
							vc-id = <3>;
							port-index = <2>;
							bus-width = <4>;
							remote-endpoint = <&csi_in7>;
						};
					};
				};
			};
		};
	};
};
